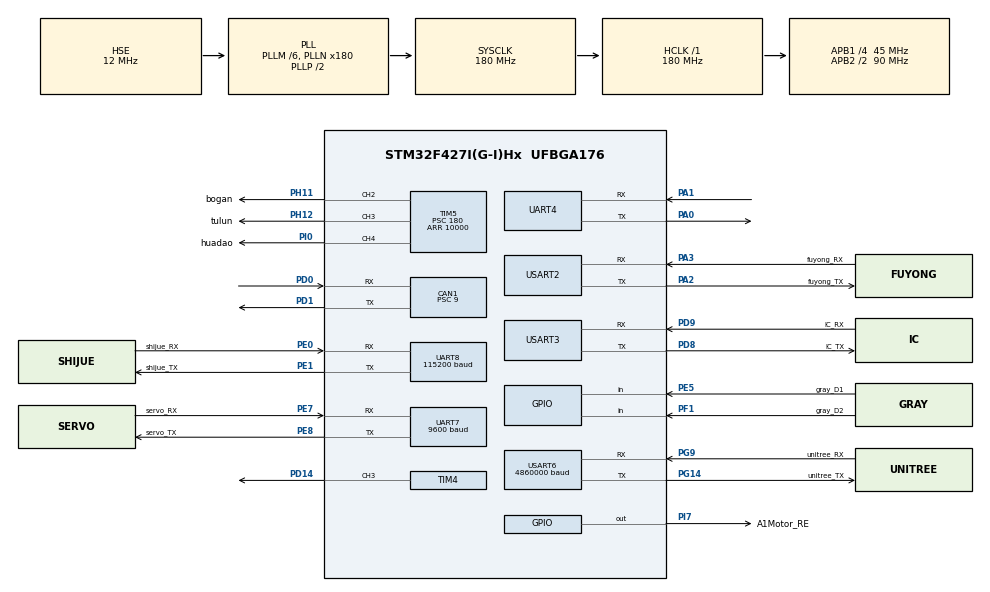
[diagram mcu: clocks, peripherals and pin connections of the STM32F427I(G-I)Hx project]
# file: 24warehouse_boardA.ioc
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CAN1.BS1=CAN_BS1_2TQ
CAN1.BS2=CAN_BS2_2TQ
CAN1.CalculateBaudRate=1000000
CAN1.CalculateTimeBit=1000
CAN1.CalculateTimeQuantum=200.0
CAN1.Prescaler=9
Dma.Request0=USART6_RX
Dma.Request1=USART6_TX
Dma.Request2=UART7_RX
Dma.Request3=UART7_TX
Dma.Request4=UART8_RX
Dma.Request5=UART8_TX
Dma.Request6=USART2_RX
Dma.UART7_RX.2.Direction=DMA_PERIPH_TO_MEMORY
Dma.UART7_RX.2.FIFOMode=DMA_FIFOMODE_DISABLE
Dma.UART7_RX.2.Instance=DMA1_Stream3
Dma.UART7_RX.2.MemDataAlignment=DMA_MDATAALIGN_BYTE
Dma.UART7_RX.2.MemInc=DMA_MINC_ENABLE
Dma.UART7_RX.2.Mode=DMA_NORMAL
Dma.UART7_RX.2.PeriphDataAlignment=DMA_PDATAALIGN_BYTE
Dma.UART7_RX.2.PeriphInc=DMA_PINC_DISABLE
Dma.UART7_RX.2.Priority=DMA_PRIORITY_LOW
Dma.UART7_TX.3.Direction=DMA_MEMORY_TO_PERIPH
Dma.UART7_TX.3.FIFOMode=DMA_FIFOMODE_DISABLE
Dma.UART7_TX.3.Instance=DMA1_Stream1
Dma.UART7_TX.3.MemDataAlignment=DMA_MDATAALIGN_BYTE
Dma.UART7_TX.3.MemInc=DMA_MINC_ENABLE
Dma.UART7_TX.3.Mode=DMA_NORMAL
Dma.UART7_TX.3.PeriphDataAlignment=DMA_PDATAALIGN_BYTE
Dma.UART7_TX.3.PeriphInc=DMA_PINC_DISABLE
Dma.UART7_TX.3.Priority=DMA_PRIORITY_LOW
Dma.UART8_RX.4.Direction=DMA_PERIPH_TO_MEMORY
Dma.UART8_RX.4.FIFOMode=DMA_FIFOMODE_DISABLE
Dma.UART8_RX.4.Instance=DMA1_Stream6
Dma.UART8_RX.4.MemDataAlignment=DMA_MDATAALIGN_BYTE
Dma.UART8_RX.4.MemInc=DMA_MINC_ENABLE
Dma.UART8_RX.4.Mode=DMA_NORMAL
Dma.UART8_RX.4.PeriphDataAlignment=DMA_PDATAALIGN_BYTE
Dma.UART8_RX.4.PeriphInc=DMA_PINC_DISABLE
Dma.UART8_RX.4.Priority=DMA_PRIORITY_LOW
Dma.UART8_TX.5.Direction=DMA_MEMORY_TO_PERIPH
Dma.UART8_TX.5.FIFOMode=DMA_FIFOMODE_DISABLE
Dma.UART8_TX.5.Instance=DMA1_Stream0
Dma.UART8_TX.5.MemDataAlignment=DMA_MDATAALIGN_BYTE
Dma.UART8_TX.5.MemInc=DMA_MINC_ENABLE
Dma.UART8_TX.5.Mode=DMA_NORMAL
Dma.UART8_TX.5.PeriphDataAlignment=DMA_PDATAALIGN_BYTE
Dma.UART8_TX.5.PeriphInc=DMA_PINC_DISABLE
Dma.UART8_TX.5.Priority=DMA_PRIORITY_LOW
Dma.USART2_RX.6.Direction=DMA_PERIPH_TO_MEMORY
Dma.USART2_RX.6.FIFOMode=DMA_FIFOMODE_DISABLE
Dma.USART2_RX.6.Instance=DMA1_Stream5
Dma.USART2_RX.6.MemDataAlignment=DMA_MDATAALIGN_BYTE
Dma.USART2_RX.6.MemInc=DMA_MINC_ENABLE
Dma.USART2_RX.6.Mode=DMA_NORMAL
Dma.USART2_RX.6.PeriphDataAlignment=DMA_PDATAALIGN_BYTE
Dma.USART2_RX.6.PeriphInc=DMA_PINC_DISABLE
Dma.USART2_RX.6.Priority=DMA_PRIORITY_LOW
Dma.USART6_RX.0.Direction=DMA_PERIPH_TO_MEMORY
Dma.USART6_RX.0.FIFOMode=DMA_FIFOMODE_DISABLE
Dma.USART6_RX.0.Instance=DMA2_Stream1
Dma.USART6_RX.0.MemDataAlignment=DMA_MDATAALIGN_BYTE
Dma.USART6_RX.0.MemInc=DMA_MINC_ENABLE
Dma.USART6_RX.0.Mode=DMA_CIRCULAR
Dma.USART6_RX.0.PeriphDataAlignment=DMA_PDATAALIGN_BYTE
Dma.USART6_RX.0.PeriphInc=DMA_PINC_DISABLE
Dma.USART6_RX.0.Priority=DMA_PRIORITY_VERY_HIGH
Dma.USART6_TX.1.Direction=DMA_MEMORY_TO_PERIPH
Dma.USART6_TX.1.FIFOMode=DMA_FIFOMODE_DISABLE
Dma.USART6_TX.1.Instance=DMA2_Stream6
Dma.USART6_TX.1.MemDataAlignment=DMA_MDATAALIGN_BYTE
Dma.USART6_TX.1.MemInc=DMA_MINC_ENABLE
Dma.USART6_TX.1.Mode=DMA_CIRCULAR
Dma.USART6_TX.1.PeriphDataAlignment=DMA_PDATAALIGN_BYTE
Dma.USART6_TX.1.PeriphInc=DMA_PINC_DISABLE
Dma.USART6_TX.1.Priority=DMA_PRIORITY_LOW
FREERTOS.INCLUDE_eTaskGetState=1
FREERTOS.INCLUDE_pcTaskGetTaskName=1
FREERTOS.INCLUDE_uxTaskGetStackHighWaterMark=1
FREERTOS.INCLUDE_uxTaskGetStackHighWaterMark2=0
FREERTOS.INCLUDE_vTaskCleanUpResources=1
FREERTOS.INCLUDE_vTaskDelayUntil=1
FREERTOS.INCLUDE_xEventGroupSetBitFromISR=1
FREERTOS.INCLUDE_xQueueGetMutexHolder=1
FREERTOS.INCLUDE_xSemaphoreGetMutexHolder=1
FREERTOS.INCLUDE_xTaskAbortDelay=1
FREERTOS.INCLUDE_xTaskGetCurrentTaskHandle=1
FREERTOS.INCLUDE_xTaskGetHandle=1
FREERTOS.INCLUDE_xTimerPendFunctionCall=1
FREERTOS.Tasks01=Prepare_Task_,-3,128,Prepare_Task,As weak,NULL,Dynamic,NULL,NULL
FREERTOS.configUSE_TIMERS=1
Mcu.Family=STM32F4
Mcu.Name=STM32F427I(G-I)Hx
Mcu.Package=UFBGA176
NVIC.CAN1_RX0_IRQn=true\:6\:0\:true\:false\:true\:true\:true\:true\:true
NVIC.DMA1_Stream0_IRQn=true\:5\:0\:false\:false\:true\:true\:false\:true\:true
NVIC.DMA1_Stream1_IRQn=true\:5\:0\:false\:false\:true\:true\:false\:true\:true
NVIC.DMA1_Stream3_IRQn=true\:5\:0\:false\:false\:true\:true\:false\:true\:true
NVIC.DMA1_Stream5_IRQn=true\:5\:0\:false\:false\:true\:true\:false\:true\:true
NVIC.DMA1_Stream6_IRQn=true\:5\:0\:false\:false\:true\:true\:false\:true\:true
NVIC.DMA2_Stream1_IRQn=true\:5\:0\:false\:false\:true\:true\:false\:true\:true
NVIC.DMA2_Stream6_IRQn=true\:5\:0\:false\:false\:true\:true\:false\:true\:true
NVIC.PriorityGroup=NVIC_PRIORITYGROUP_4
NVIC.TIM6_DAC_IRQn=true\:15\:0\:false\:false\:true\:false\:false\:true\:true
NVIC.TimeBase=TIM6_DAC_IRQn
NVIC.TimeBaseIP=TIM6
NVIC.UART4_IRQn=true\:5\:0\:false\:false\:true\:true\:true\:true\:true
NVIC.UART7_IRQn=true\:5\:0\:false\:false\:true\:true\:true\:true\:true
NVIC.UART8_IRQn=true\:6\:0\:true\:false\:true\:true\:true\:true\:true
NVIC.USART3_IRQn=true\:6\:0\:true\:false\:true\:true\:true\:true\:true
NVIC.USART6_IRQn=true\:5\:0\:false\:false\:true\:true\:true\:true\:true
PA0/WKUP.Mode=Asynchronous
PA0/WKUP.Signal=UART4_TX
PA1.Mode=Asynchronous
PA1.Signal=UART4_RX
PA13.Mode=Serial_Wire
PA13.Signal=SYS_JTMS-SWDIO
PA14.Mode=Serial_Wire
PA14.Signal=SYS_JTCK-SWCLK
PA2.GPIO_Label=fuyong_TX
PA2.Mode=Asynchronous
PA2.Signal=USART2_TX
PA3.GPIO_Label=fuyong_RX
PA3.Mode=Asynchronous
PA3.Signal=USART2_RX
PA7.GPIO_PuPd=GPIO_PULLUP
PA7.Signal=SPI1_MOSI
PD0.Mode=CAN_Activate
PD0.Signal=CAN1_RX
PD1.Mode=CAN_Activate
PD1.Signal=CAN1_TX
PD14.GPIO_PuPd=GPIO_PULLUP
PD14.GPIO_Speed=GPIO_SPEED_FREQ_HIGH
PD14.Signal=S_TIM4_CH3
PD8.GPIO_Label=IC_TX
PD8.Mode=Asynchronous
PD8.Signal=USART3_TX
PD9.GPIO_Label=IC_RX
PD9.Mode=Asynchronous
PD9.Signal=USART3_RX
PE0.GPIO_Label=shijue_RX
PE0.Mode=Asynchronous
PE0.Signal=UART8_RX
PE1.GPIO_Label=shijue_TX
PE1.Mode=Asynchronous
PE1.Signal=UART8_TX
PE5.GPIO_Label=gray_D1
PE5.Signal=GPIO_Input
PE7.GPIO_Label=servo_RX
PE7.Mode=Asynchronous
PE7.Signal=UART7_RX
PE8.GPIO_Label=servo_TX
PE8.Mode=Asynchronous
PE8.Signal=UART7_TX
PF1.GPIO_Label=gray_D2
PF1.Signal=GPIO_Input
PF6.GPIO_PuPd=GPIO_PULLUP
PF6.GPIO_Speed=GPIO_SPEED_FREQ_HIGH
PF6.Signal=S_TIM10_CH1
PG14.GPIO_Label=unitree_TX
PG14.Mode=Asynchronous
PG14.Signal=USART6_TX
PG9.GPIO_Label=unitree_RX
PG9.Mode=Asynchronous
PG9.Signal=USART6_RX
PH0/OSC_IN.Mode=HSE-External-Oscillator
PH0/OSC_IN.Signal=RCC_OSC_IN
PH1/OSC_OUT.Mode=HSE-External-Oscillator
PH1/OSC_OUT.Signal=RCC_OSC_OUT
PH11.GPIO_Label=bogan
PH11.Signal=S_TIM5_CH2
PH12.GPIO_Label=tulun
PH12.Signal=S_TIM5_CH3
PI0.GPIO_Label=huadao
PI0.Signal=S_TIM5_CH4
PI7.GPIO_Label=A1Motor_RE
PI7.Signal=GPIO_Output
ProjectManager.HeapSize=0x200
ProjectManager.StackSize=0x400
ProjectManager.TargetToolchain=MDK-ARM V5.32
RCC.48MHZClocksFreq_Value=90000000
RCC.AHBFreq_Value=180000000
RCC.APB1CLKDivider=RCC_HCLK_DIV4
RCC.APB1Freq_Value=45000000
RCC.APB1TimFreq_Value=90000000
RCC.APB2CLKDivider=RCC_HCLK_DIV2
RCC.APB2Freq_Value=90000000
RCC.APB2TimFreq_Value=180000000
RCC.CortexFreq_Value=180000000
RCC.HCLKFreq_Value=180000000
RCC.HSE_VALUE=12000000
RCC.HSI_VALUE=16000000
RCC.LSE_VALUE=32768
RCC.PLLM=6
RCC.PLLN=180
RCC.PLLSourceVirtual=RCC_PLLSOURCE_HSE
RCC.SYSCLKFreq_VALUE=180000000
RCC.SYSCLKSource=RCC_SYSCLKSOURCE_PLLCLK
RCC.VCOOutputFreq_Value=360000000
SH.S_TIM10_CH1.0=TIM10_CH1
SH.S_TIM4_CH3.0=TIM4_CH3,PWM Generation3 CH3
SH.S_TIM5_CH2.0=TIM5_CH2,PWM Generation2 CH2
SH.S_TIM5_CH3.0=TIM5_CH3,PWM Generation3 CH3
SH.S_TIM5_CH4.0=TIM5_CH4,PWM Generation4 CH4
TIM4.Channel-PWM\ Generation3\ CH3=TIM_CHANNEL_3
TIM4.Prescaler=180-1
TIM5.Channel-PWM\ Generation2\ CH2=TIM_CHANNEL_2
TIM5.Channel-PWM\ Generation3\ CH3=TIM_CHANNEL_3
TIM5.Channel-PWM\ Generation4\ CH4=TIM_CHANNEL_4
TIM5.Period=10000
TIM5.Prescaler=180
TIM5.Pulse-PWM\ Generation2\ CH2=250
TIM5.Pulse-PWM\ Generation3\ CH3=250
TIM5.Pulse-PWM\ Generation4\ CH4=900
UART4.VirtualMode=Asynchronous
UART7.BaudRate=9600
UART7.VirtualMode=Asynchronous
UART8.BaudRate=115200
UART8.VirtualMode=Asynchronous
USART2.VirtualMode=VM_ASYNC
USART3.VirtualMode=VM_ASYNC
USART6.BaudRate=4860000
USART6.VirtualMode=VM_ASYNC
VP_FREERTOS_VS_CMSIS_V1.Mode=CMSIS_V1
VP_SYS_VS_tim6.Mode=TIM6
VP_TIM4_VS_ClockSourceINT.Mode=Internal
board=custom

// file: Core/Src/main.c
/* USER CODE BEGIN Header */
/**
  ******************************************************************************
  * @file           : main.c
  * @brief          : Main program body
  ******************************************************************************
  * @attention
  *
  * Copyright (c) 2024 STMicroelectronics.
  * All rights reserved.
  *
  * This software is licensed under terms that can be found in the LICENSE file
  * in the root directory of this software component.
  * If no LICENSE file comes with this software, it is provided AS-IS.
  *
  ******************************************************************************
  */
/* USER CODE END Header */
#include "main.h"
#include "cmsis_os.h"
#include "can.h"
#include "dma.h"
#include "tim.h"
#include "usart.h"
#include "gpio.h"

/* USER CODE BEGIN Includes */
#include "bsp_can.h"
#include "bsp_delay.h"
#include "UART_receive.h"

/* USER CODE END Includes */

/* USER CODE BEGIN PV */
extern uint8_t RX_shijue_buff[SHIJUE_BUFF_SIZE];
extern uint8_t RX_IC_buff[IC_BUFF_SIZE];
extern uint8_t RX_INS_buff[INS_BUFF_SIZE];

/* USER CODE END PV */

void SystemClock_Config(void);
void MX_FREERTOS_Init(void);

int main(void)
{

  /* MCU Configuration--------------------------------------------------------*/

  /* Reset of all peripherals, Initializes the Flash interface and the Systick. */
  HAL_Init();

  /* Configure the system clock */
  SystemClock_Config();

  /* Initialize all configured peripherals */
  MX_GPIO_Init();
  MX_DMA_Init();
  MX_CAN1_Init();
  MX_TIM4_Init();
  MX_USART6_UART_Init();
  MX_UART7_Init();
  MX_UART8_Init();
  MX_USART3_UART_Init();
  MX_USART2_UART_Init();
  MX_TIM5_Init();
  MX_UART4_Init();
  /* USER CODE BEGIN 2 */
	can_filter_init();
	delay_init();
	HAL_UARTEx_ReceiveToIdle_DMA(&huart8, RX_shijue_buff, SHIJUE_BUFF_SIZE);
	HAL_UARTEx_ReceiveToIdle_DMA(&huart2, RX_INS_buff, INS_BUFF_SIZE);
	HAL_UARTEx_ReceiveToIdle_IT(&huart3, RX_IC_buff, IC_BUFF_SIZE);
//	HAL_UARTEx_ReceiveToIdle_IT(&huart4, RX_INS_buff, INS_BUFF_SIZE);
	HAL_TIM_PWM_Start(&htim5, TIM_CHANNEL_3);
	HAL_TIM_PWM_Start(&htim5, TIM_CHANNEL_4);
	HAL_TIM_PWM_Start(&htim5, TIM_CHANNEL_2);
  /* USER CODE END 2 */

  /* Call init function for freertos objects (in cmsis_os2.c) */
  MX_FREERTOS_Init();

  /* Start scheduler */
  osKernelStart();

  /* We should never get here as control is now taken by the scheduler */

  /* Infinite loop */
  while (1)
  {

  }
}

void SystemClock_Config(void)
{
  RCC_OscInitTypeDef RCC_OscInitStruct = {0};
  RCC_ClkInitTypeDef RCC_ClkInitStruct = {0};

  /** Configure the main internal regulator output voltage
  */
  __HAL_RCC_PWR_CLK_ENABLE();
  __HAL_PWR_VOLTAGESCALING_CONFIG(PWR_REGULATOR_VOLTAGE_SCALE1);

  /** Initializes the RCC Oscillators according to the specified parameters
  * in the RCC_OscInitTypeDef structure.
  */
  RCC_OscInitStruct.OscillatorType = RCC_OSCILLATORTYPE_HSE;
  RCC_OscInitStruct.HSEState = RCC_HSE_ON;
  RCC_OscInitStruct.PLL.PLLState = RCC_PLL_ON;
  RCC_OscInitStruct.PLL.PLLSource = RCC_PLLSOURCE_HSE;
  RCC_OscInitStruct.PLL.PLLM = 6;
  RCC_OscInitStruct.PLL.PLLN = 180;
  RCC_OscInitStruct.PLL.PLLP = RCC_PLLP_DIV2;
  RCC_OscInitStruct.PLL.PLLQ = 4;
  if (HAL_RCC_OscConfig(&RCC_OscInitStruct) != HAL_OK)
  {
    Error_Handler();
  }

  /** Activate the Over-Drive mode
  */
  if (HAL_PWREx_EnableOverDrive() != HAL_OK)
  {
    Error_Handler();
  }

  /** Initializes the CPU, AHB and APB buses clocks
  */
  RCC_ClkInitStruct.ClockType = RCC_CLOCKTYPE_HCLK|RCC_CLOCKTYPE_SYSCLK
                              |RCC_CLOCKTYPE_PCLK1|RCC_CLOCKTYPE_PCLK2;
  RCC_ClkInitStruct.SYSCLKSource = RCC_SYSCLKSOURCE_PLLCLK;
  RCC_ClkInitStruct.AHBCLKDivider = RCC_SYSCLK_DIV1;
  RCC_ClkInitStruct.APB1CLKDivider = RCC_HCLK_DIV4;
  RCC_ClkInitStruct.APB2CLKDivider = RCC_HCLK_DIV2;

  if (HAL_RCC_ClockConfig(&RCC_ClkInitStruct, FLASH_LATENCY_5) != HAL_OK)
  {
    Error_Handler();
  }
}

void HAL_TIM_PeriodElapsedCallback(TIM_HandleTypeDef *htim)
{
  if (htim->Instance == TIM6) {
    HAL_IncTick();
  }
}

void Error_Handler(void)
{
  __disable_irq();
  while (1)
  {
  }
}

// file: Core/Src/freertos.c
/* USER CODE BEGIN Header */
/**
  ******************************************************************************
  * File Name          : freertos.c
  * Description        : Code for freertos applications
  ******************************************************************************
  * @attention
  *
  * Copyright (c) 2024 STMicroelectronics.
  * All rights reserved.
  *
  * This software is licensed under terms that can be found in the LICENSE file
  * in the root directory of this software component.
  * If no LICENSE file comes with this software, it is provided AS-IS.
  *
  ******************************************************************************
  */
/* USER CODE END Header */

#include "FreeRTOS.h"
#include "task.h"
#include "main.h"
#include "cmsis_os.h"

/* USER CODE BEGIN Includes */

#include "Chassis_Task.h"
#include "Bodanpan_Task.h"
#include "arm_task.h"
#include "flow_task.h"
#include "arm_control_task.h"

/* USER CODE END Includes */

/* USER CODE BEGIN Variables */

osThreadId chassisTaskHandle;
osThreadId BodanpanTaskHandle;
osThreadId armTaskHandle;

/* USER CODE END Variables */
osThreadId Prepare_Task_Handle;

/* USER CODE BEGIN FunctionPrototypes */

void arm_task(void const * argument);

/* USER CODE END FunctionPrototypes */

void Prepare_Task(void const * argument);

void MX_FREERTOS_Init(void); /* (MISRA C 2004 rule 8.1) */

/* GetIdleTaskMemory prototype (linked to static allocation support) */
void vApplicationGetIdleTaskMemory( StaticTask_t **ppxIdleTaskTCBBuffer, StackType_t **ppxIdleTaskStackBuffer, uint32_t *pulIdleTaskStackSize );

/* GetTimerTaskMemory prototype (linked to static allocation support) */
void vApplicationGetTimerTaskMemory( StaticTask_t **ppxTimerTaskTCBBuffer, StackType_t **ppxTimerTaskStackBuffer, uint32_t *pulTimerTaskStackSize );

/* USER CODE BEGIN GET_IDLE_TASK_MEMORY */
static StaticTask_t xIdleTaskTCBBuffer;
static StackType_t xIdleStack[configMINIMAL_STACK_SIZE];

void vApplicationGetIdleTaskMemory( StaticTask_t **ppxIdleTaskTCBBuffer, StackType_t **ppxIdleTaskStackBuffer, uint32_t *pulIdleTaskStackSize )
{
  *ppxIdleTaskTCBBuffer = &xIdleTaskTCBBuffer;
  *ppxIdleTaskStackBuffer = &xIdleStack[0];
  *pulIdleTaskStackSize = configMINIMAL_STACK_SIZE;
  /* place for user code */
}
/* USER CODE END GET_IDLE_TASK_MEMORY */

/* USER CODE BEGIN GET_TIMER_TASK_MEMORY */
static StaticTask_t xTimerTaskTCBBuffer;
static StackType_t xTimerStack[configTIMER_TASK_STACK_DEPTH];

void vApplicationGetTimerTaskMemory( StaticTask_t **ppxTimerTaskTCBBuffer, StackType_t **ppxTimerTaskStackBuffer, uint32_t *pulTimerTaskStackSize )
{
  *ppxTimerTaskTCBBuffer = &xTimerTaskTCBBuffer;
  *ppxTimerTaskStackBuffer = &xTimerStack[0];
  *pulTimerTaskStackSize = configTIMER_TASK_STACK_DEPTH;
  /* place for user code */
}
/* USER CODE END GET_TIMER_TASK_MEMORY */

void MX_FREERTOS_Init(void) {

  /* Create the thread(s) */
  /* definition and creation of Prepare_Task_ */
  osThreadDef(Prepare_Task_, Prepare_Task, osPriorityIdle, 0, 128);
  Prepare_Task_Handle = osThreadCreate(osThread(Prepare_Task_), NULL);

  /* USER CODE BEGIN RTOS_THREADS */

	osThreadDef(ChassisTask, chassis_task, osPriorityAboveNormal, 0, 512);
    chassisTaskHandle = osThreadCreate(osThread(ChassisTask), NULL);

	osThreadDef(Bodanpan_Task_,Bodanpan_Task,osPriorityBelowNormal, 0, 512);
    BodanpanTaskHandle = osThreadCreate(osThread(Bodanpan_Task_), NULL);

	osThreadDef(armTask, arm_task, osPriorityNormal, 0, 512);
	armTaskHandle = osThreadCreate(osThread(armTask), NULL);

	osThreadDef(flowTask, flow_task, osPriorityNormal, 0, 512);
	armTaskHandle = osThreadCreate(osThread(flowTask), NULL);

	osThreadDef(armControlTask, arm_control_task, osPriorityNormal, 0, 512);
	armTaskHandle = osThreadCreate(osThread(armControlTask), NULL);
  /* add threads, ... */
  /* USER CODE END RTOS_THREADS */

}

__weak void Prepare_Task(void const * argument)
{
  for(;;)
  {
    osDelay(1);
  }
}

/* USER CODE BEGIN Application */

__weak void arm_task(void const * argument)
{
	while(1)
	{
		osDelay(1);
	}
}

/* USER CODE END Application */
